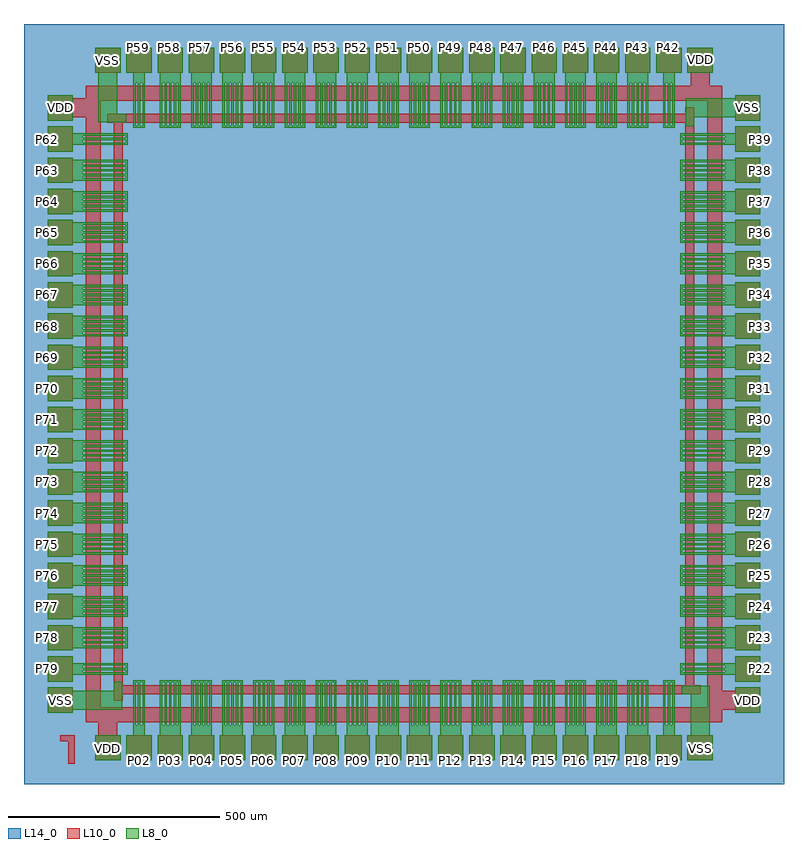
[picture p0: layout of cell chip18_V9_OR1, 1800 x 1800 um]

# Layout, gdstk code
from math import pi, radians
import gdstk
lib = gdstk.Library(unit=1e-6, precision=1e-09)
def R(c, l, rs):  # rectangles x0, y0, x1, y1
    for r in rs: c.add(gdstk.rectangle(r[:2], r[2:], *l))
def A(c, l, x, y, w, h, nx, ny, dx, dy):  # array of equal rectangles
    R(c, l, [(x+i*dx, y+j*dy, x+i*dx+w, y+j*dy+h) for i in range(nx) for j in range(ny)])
def P(c, l, *ps):  # polygons
    for p in ps: c.add(gdstk.Polygon(p, *l))
L8_0 = (8, 0)
L10_0 = (10, 0)
L14_0 = (14, 0)

pad60_v6_or1 = lib.new_cell('PAD60_V6_OR1')
R(pad60_v6_or1, L8_0, [(0,0,60,60)])
R(pad60_v6_or1, L10_0, [(0,0,60,60)])

pad3512_v5_or1 = lib.new_cell('pad3512_V5_OR1')
A(pad3512_v5_or1, L8_0, 16.4, 83.4, 5.6, 101.2, 3, 1, 10.8, 0)
R(pad3512_v5_or1, L8_0, [(16.4,60,43.6,82.9), (16.4,78.4,27.2,83.4), (27.2,78.4,38,83.4), (38,78.4,43.6,83.4), (16.4,184.6,43.6,189.6)])
R(pad3512_v5_or1, L10_0, [(8.9,90,51.1,126.2), (8.9,156.2,51.1,178)])
R(pad3512_v5_or1, L14_0, [(0,0,60,189.6)])
pad3512_v5_or1.add(gdstk.Reference(pad60_v6_or1, (0,0)))
pad3512_v5_or1.add(gdstk.Label('PAD', (30,30.1), layer=13, texttype=0))

pad3512_v4_or1 = lib.new_cell('pad3512_V4_OR1')
A(pad3512_v4_or1, L8_0, 5.6, 83.4, 5.6, 101.2, 5, 1, 10.8, 0)
R(pad3512_v4_or1, L8_0, [(5.6,60,54.4,83.4), (5.6,78.4,16.4,83.4), (16.4,78.4,27.2,83.4), (27.2,78.4,54.4,83.4), (5.6,184.6,54.4,189.6)])
R(pad3512_v4_or1, L10_0, [(-1.9,90,61.9,126.2), (-1.9,156.2,61.9,178)])
R(pad3512_v4_or1, L14_0, [(-8.2,0,68.2,189.6)])
pad3512_v4_or1.add(gdstk.Reference(pad60_v6_or1, (0,0)))
pad3512_v4_or1.add(gdstk.Label('PAD', (30,30.1), layer=13, texttype=0))

chip18_v9_or1 = lib.new_cell('chip18_V9_OR1')
R(chip18_v9_or1, L8_0, [(678.7,-784,723.7,-667.5), (-784,-723.7,-667.5,-678.7), (-687.8,-702.3,-667.5,-657.3), (657.3,-687.8,702.3,-667.5), (667.5,657.3,687.8,702.3), (-723.7,667.5,-678.7,784), (-702.3,667.5,-657.3,687.8), (667.5,678.6,784,723.6)])
R(chip18_v9_or1, L10_0, [(-723.6,-784,-678.6,-754), (-754,-754,-717.8,754), (-754,-754,754,-717.8), (717.8,-754,754,754), (754,-723.6,784,-678.6), (-687.8,-702.3,-666,666), (-687.8,-687.8,702.3,-666), (586.9,-687.8,666,-666), (666,-687.8,687.8,702.3), (666,-687.8,687.8,-660.7), (-702.3,666,687.8,687.8), (-784,678.6,-754,723.6), (-754,717.8,754,754), (678.6,754,723.6,784)])
P(chip18_v9_or1, L10_0, [(-795.3,-851.5),(-795.3,-799),(-813.6,-799),(-813.6,-784),(-780.3,-784),(-780.3,-851.5)])
R(chip18_v9_or1, L14_0, [(-900,-900,900,900)])
chip18_v9_or1.add(gdstk.Reference(pad3512_v5_or1, (-597.3,844), rotation=pi))
chip18_v9_or1.add(gdstk.Reference(pad3512_v5_or1, (657.3,844), rotation=pi))
chip18_v9_or1.add(gdstk.Reference(pad3512_v5_or1, (844,597.3), rotation=pi/2))
chip18_v9_or1.add(gdstk.Reference(pad3512_v5_or1, (844,-657.3), rotation=pi/2))
chip18_v9_or1.add(gdstk.Reference(pad3512_v5_or1, (597.3,-844)))
chip18_v9_or1.add(gdstk.Reference(pad3512_v5_or1, (-657.3,-844)))
chip18_v9_or1.add(gdstk.Reference(pad3512_v5_or1, (-844,-597.3), rotation=3*pi/2))
chip18_v9_or1.add(gdstk.Reference(pad3512_v5_or1, (-844,657.3), rotation=3*pi/2))
chip18_v9_or1.add(gdstk.Reference(pad60_v6_or1, (-731.1,-844)))
chip18_v9_or1.add(gdstk.Reference(pad60_v6_or1, (-731.1,784)))
chip18_v9_or1.add(gdstk.Reference(pad60_v6_or1, (-844,671.1)))
chip18_v9_or1.add(gdstk.Reference(pad60_v6_or1, (671.1,844), x_reflection=True))
chip18_v9_or1.add(gdstk.Reference(pad60_v6_or1, (784,671.1)))
chip18_v9_or1.add(gdstk.Reference(pad60_v6_or1, (784,-731.1)))
chip18_v9_or1.add(gdstk.Reference(pad60_v6_or1, (671.1,-844)))
chip18_v9_or1.add(gdstk.Reference(pad60_v6_or1, (-731.1,-844)))
chip18_v9_or1.add(gdstk.Reference(pad60_v6_or1, (-844,-731.1)))
chip18_v9_or1.add(gdstk.Reference(pad3512_v4_or1, (523.5,-844)))
chip18_v9_or1.add(gdstk.Reference(pad3512_v4_or1, (449.7,-844)))
chip18_v9_or1.add(gdstk.Reference(pad3512_v4_or1, (375.9,-844)))
chip18_v9_or1.add(gdstk.Reference(pad3512_v4_or1, (302.1,-844)))
chip18_v9_or1.add(gdstk.Reference(pad3512_v4_or1, (228.3,-844)))
chip18_v9_or1.add(gdstk.Reference(pad3512_v4_or1, (154.5,-844)))
chip18_v9_or1.add(gdstk.Reference(pad3512_v4_or1, (80.7,-844)))
chip18_v9_or1.add(gdstk.Reference(pad3512_v4_or1, (6.9,-844)))
chip18_v9_or1.add(gdstk.Reference(pad3512_v4_or1, (-66.9,-844)))
chip18_v9_or1.add(gdstk.Reference(pad3512_v4_or1, (-140.7,-844)))
chip18_v9_or1.add(gdstk.Reference(pad3512_v4_or1, (-214.5,-844)))
chip18_v9_or1.add(gdstk.Reference(pad3512_v4_or1, (-288.3,-844)))
chip18_v9_or1.add(gdstk.Reference(pad3512_v4_or1, (-362.1,-844)))
chip18_v9_or1.add(gdstk.Reference(pad3512_v4_or1, (-435.9,-844)))
chip18_v9_or1.add(gdstk.Reference(pad3512_v4_or1, (-509.7,-844)))
chip18_v9_or1.add(gdstk.Reference(pad3512_v4_or1, (-583.5,-844)))
chip18_v9_or1.add(gdstk.Reference(pad3512_v4_or1, (844,-140.7), rotation=pi/2))
chip18_v9_or1.add(gdstk.Reference(pad3512_v4_or1, (844,-214.5), rotation=pi/2))
chip18_v9_or1.add(gdstk.Reference(pad3512_v4_or1, (844,-288.3), rotation=pi/2))
chip18_v9_or1.add(gdstk.Reference(pad3512_v4_or1, (844,-362.1), rotation=pi/2))
chip18_v9_or1.add(gdstk.Reference(pad3512_v4_or1, (844,-435.9), rotation=pi/2))
chip18_v9_or1.add(gdstk.Reference(pad3512_v4_or1, (844,-509.7), rotation=pi/2))
chip18_v9_or1.add(gdstk.Reference(pad3512_v4_or1, (844,-583.5), rotation=pi/2))
chip18_v9_or1.add(gdstk.Reference(pad3512_v4_or1, (844,-66.9), rotation=pi/2))
chip18_v9_or1.add(gdstk.Reference(pad3512_v4_or1, (844,6.9), rotation=pi/2))
chip18_v9_or1.add(gdstk.Reference(pad3512_v4_or1, (844,80.7), rotation=pi/2))
chip18_v9_or1.add(gdstk.Reference(pad3512_v4_or1, (844,154.5), rotation=pi/2))
chip18_v9_or1.add(gdstk.Reference(pad3512_v4_or1, (844,228.3), rotation=pi/2))
chip18_v9_or1.add(gdstk.Reference(pad3512_v4_or1, (844,302.1), rotation=pi/2))
chip18_v9_or1.add(gdstk.Reference(pad3512_v4_or1, (844,375.9), rotation=pi/2))
chip18_v9_or1.add(gdstk.Reference(pad3512_v4_or1, (844,449.7), rotation=pi/2))
chip18_v9_or1.add(gdstk.Reference(pad3512_v4_or1, (844,523.5), rotation=pi/2))
chip18_v9_or1.add(gdstk.Reference(pad3512_v4_or1, (-844,583.5), rotation=3*pi/2))
chip18_v9_or1.add(gdstk.Reference(pad3512_v4_or1, (-844,509.7), rotation=3*pi/2))
chip18_v9_or1.add(gdstk.Reference(pad3512_v4_or1, (-844,435.9), rotation=3*pi/2))
chip18_v9_or1.add(gdstk.Reference(pad3512_v4_or1, (-844,362.1), rotation=3*pi/2))
chip18_v9_or1.add(gdstk.Reference(pad3512_v4_or1, (-844,288.3), rotation=3*pi/2))
chip18_v9_or1.add(gdstk.Reference(pad3512_v4_or1, (-844,214.5), rotation=3*pi/2))
chip18_v9_or1.add(gdstk.Reference(pad3512_v4_or1, (-844,140.7), rotation=3*pi/2))
chip18_v9_or1.add(gdstk.Reference(pad3512_v4_or1, (-844,66.9), rotation=3*pi/2))
chip18_v9_or1.add(gdstk.Reference(pad3512_v4_or1, (-844,-6.9), rotation=3*pi/2))
chip18_v9_or1.add(gdstk.Reference(pad3512_v4_or1, (-844,-80.7), rotation=3*pi/2))
chip18_v9_or1.add(gdstk.Reference(pad3512_v4_or1, (-844,-154.5), rotation=3*pi/2))
chip18_v9_or1.add(gdstk.Reference(pad3512_v4_or1, (-844,-228.3), rotation=3*pi/2))
chip18_v9_or1.add(gdstk.Reference(pad3512_v4_or1, (-844,-302.1), rotation=3*pi/2))
chip18_v9_or1.add(gdstk.Reference(pad3512_v4_or1, (-844,-375.9), rotation=3*pi/2))
chip18_v9_or1.add(gdstk.Reference(pad3512_v4_or1, (-844,-449.7), rotation=3*pi/2))
chip18_v9_or1.add(gdstk.Reference(pad3512_v4_or1, (-844,-523.5), rotation=3*pi/2))
chip18_v9_or1.add(gdstk.Reference(pad3512_v4_or1, (583.5,844), rotation=pi))
chip18_v9_or1.add(gdstk.Reference(pad3512_v4_or1, (509.7,844), rotation=pi))
chip18_v9_or1.add(gdstk.Reference(pad3512_v4_or1, (435.9,844), rotation=pi))
chip18_v9_or1.add(gdstk.Reference(pad3512_v4_or1, (362.1,844), rotation=pi))
chip18_v9_or1.add(gdstk.Reference(pad3512_v4_or1, (288.3,844), rotation=pi))
chip18_v9_or1.add(gdstk.Reference(pad3512_v4_or1, (214.5,844), rotation=pi))
chip18_v9_or1.add(gdstk.Reference(pad3512_v4_or1, (140.7,844), rotation=pi))
chip18_v9_or1.add(gdstk.Reference(pad3512_v4_or1, (66.9,844), rotation=pi))
chip18_v9_or1.add(gdstk.Reference(pad3512_v4_or1, (-6.9,844), rotation=pi))
chip18_v9_or1.add(gdstk.Reference(pad3512_v4_or1, (-80.7,844), rotation=pi))
chip18_v9_or1.add(gdstk.Reference(pad3512_v4_or1, (-154.5,844), rotation=pi))
chip18_v9_or1.add(gdstk.Reference(pad3512_v4_or1, (-228.3,844), rotation=pi))
chip18_v9_or1.add(gdstk.Reference(pad3512_v4_or1, (-302.1,844), rotation=pi))
chip18_v9_or1.add(gdstk.Reference(pad3512_v4_or1, (-375.9,844), rotation=pi))
chip18_v9_or1.add(gdstk.Reference(pad3512_v4_or1, (-449.7,844), rotation=pi))
chip18_v9_or1.add(gdstk.Reference(pad3512_v4_or1, (-523.5,844), rotation=pi))
chip18_v9_or1.add(gdstk.Label('VSS', (813.35,702.4), layer=13, texttype=0))
chip18_v9_or1.add(gdstk.Label('P71', (-844,-36.9), layer=13, texttype=0))
chip18_v9_or1.add(gdstk.Label('P63', (-844,553.5), layer=13, texttype=0))
chip18_v9_or1.add(gdstk.Label('P62', (-844,627.3), layer=13, texttype=0))
chip18_v9_or1.add(gdstk.Label('VDD', (-814,701.1), layer=13, texttype=0))
chip18_v9_or1.add(gdstk.Label('P64', (-844,479.7), layer=13, texttype=0))
chip18_v9_or1.add(gdstk.Label('P65', (-844,405.9), layer=13, texttype=0))
chip18_v9_or1.add(gdstk.Label('P66', (-844,332.1), layer=13, texttype=0))
chip18_v9_or1.add(gdstk.Label('P67', (-844,258.3), layer=13, texttype=0))
chip18_v9_or1.add(gdstk.Label('P68', (-844,184.5), layer=13, texttype=0))
chip18_v9_or1.add(gdstk.Label('P69', (-844,110.7), layer=13, texttype=0))
chip18_v9_or1.add(gdstk.Label('P70', (-844,36.9), layer=13, texttype=0))
chip18_v9_or1.add(gdstk.Label('P72', (-844,-110.7), layer=13, texttype=0))
chip18_v9_or1.add(gdstk.Label('P73', (-844,-184.5), layer=13, texttype=0))
chip18_v9_or1.add(gdstk.Label('P74', (-844,-258.3), layer=13, texttype=0))
chip18_v9_or1.add(gdstk.Label('P75', (-844,-332.1), layer=13, texttype=0))
chip18_v9_or1.add(gdstk.Label('P76', (-844,-405.9), layer=13, texttype=0))
chip18_v9_or1.add(gdstk.Label('P77', (-844,-479.7), layer=13, texttype=0))
chip18_v9_or1.add(gdstk.Label('P78', (-844,-553.5), layer=13, texttype=0))
chip18_v9_or1.add(gdstk.Label('P79', (-844,-627.3), layer=13, texttype=0))
chip18_v9_or1.add(gdstk.Label('VSS', (-814,-701.1), layer=13, texttype=0))
chip18_v9_or1.add(gdstk.Label('VSS', (-701.85,814), layer=13, texttype=0))
chip18_v9_or1.add(gdstk.Label('VDD', (-701.6,-815), layer=13, texttype=0))
chip18_v9_or1.add(gdstk.Label('P59', (-628.65,844), layer=13, texttype=0))
chip18_v9_or1.add(gdstk.Label('P02', (-627.3,-844), layer=13, texttype=0))
chip18_v9_or1.add(gdstk.Label('P58', (-554.85,844), layer=13, texttype=0))
chip18_v9_or1.add(gdstk.Label('P03', (-553.5,-844), layer=13, texttype=0))
chip18_v9_or1.add(gdstk.Label('P57', (-481.05,844), layer=13, texttype=0))
chip18_v9_or1.add(gdstk.Label('P04', (-479.7,-844), layer=13, texttype=0))
chip18_v9_or1.add(gdstk.Label('P56', (-407.25,844), layer=13, texttype=0))
chip18_v9_or1.add(gdstk.Label('P05', (-405.9,-844), layer=13, texttype=0))
chip18_v9_or1.add(gdstk.Label('P55', (-333.45,844), layer=13, texttype=0))
chip18_v9_or1.add(gdstk.Label('P06', (-332.1,-844), layer=13, texttype=0))
chip18_v9_or1.add(gdstk.Label('P54', (-259.65,844), layer=13, texttype=0))
chip18_v9_or1.add(gdstk.Label('P07', (-258.3,-844), layer=13, texttype=0))
chip18_v9_or1.add(gdstk.Label('P53', (-185.85,844), layer=13, texttype=0))
chip18_v9_or1.add(gdstk.Label('P08', (-184.5,-844), layer=13, texttype=0))
chip18_v9_or1.add(gdstk.Label('P52', (-112.05,844), layer=13, texttype=0))
chip18_v9_or1.add(gdstk.Label('P09', (-110.7,-844), layer=13, texttype=0))
chip18_v9_or1.add(gdstk.Label('P51', (-38.25,844), layer=13, texttype=0))
chip18_v9_or1.add(gdstk.Label('P10', (-36.9,-844), layer=13, texttype=0))
chip18_v9_or1.add(gdstk.Label('P50', (35.55,844), layer=13, texttype=0))
chip18_v9_or1.add(gdstk.Label('P11', (36.9,-844), layer=13, texttype=0))
chip18_v9_or1.add(gdstk.Label('P49', (109.35,844), layer=13, texttype=0))
chip18_v9_or1.add(gdstk.Label('P12', (110.7,-844), layer=13, texttype=0))
chip18_v9_or1.add(gdstk.Label('P48', (183.15,844), layer=13, texttype=0))
chip18_v9_or1.add(gdstk.Label('P13', (184.5,-844), layer=13, texttype=0))
chip18_v9_or1.add(gdstk.Label('P47', (256.95,844), layer=13, texttype=0))
chip18_v9_or1.add(gdstk.Label('P14', (258.3,-844), layer=13, texttype=0))
chip18_v9_or1.add(gdstk.Label('P46', (332.1,844), layer=13, texttype=0))
chip18_v9_or1.add(gdstk.Label('P15', (332.1,-844), layer=13, texttype=0))
chip18_v9_or1.add(gdstk.Label('P45', (405.9,844), layer=13, texttype=0))
chip18_v9_or1.add(gdstk.Label('P16', (405.9,-844), layer=13, texttype=0))
chip18_v9_or1.add(gdstk.Label('P44', (479.7,844), layer=13, texttype=0))
chip18_v9_or1.add(gdstk.Label('P17', (479.7,-844), layer=13, texttype=0))
chip18_v9_or1.add(gdstk.Label('P43', (553.5,844), layer=13, texttype=0))
chip18_v9_or1.add(gdstk.Label('P18', (553.5,-844), layer=13, texttype=0))
chip18_v9_or1.add(gdstk.Label('P42', (627.3,844), layer=13, texttype=0))
chip18_v9_or1.add(gdstk.Label('P19', (627.3,-844), layer=13, texttype=0))
chip18_v9_or1.add(gdstk.Label('VDD', (814,-701.1), layer=13, texttype=0))
chip18_v9_or1.add(gdstk.Label('VDD', (701.15,815.4), layer=13, texttype=0))
chip18_v9_or1.add(gdstk.Label('P31', (844,36.9), layer=13, texttype=0))
chip18_v9_or1.add(gdstk.Label('P30', (844,-36.9), layer=13, texttype=0))
chip18_v9_or1.add(gdstk.Label('VSS', (701.1,-815), layer=13, texttype=0))
chip18_v9_or1.add(gdstk.Label('P22', (844,-627.3), layer=13, texttype=0))
chip18_v9_or1.add(gdstk.Label('P23', (844,-553.5), layer=13, texttype=0))
chip18_v9_or1.add(gdstk.Label('P24', (844,-479.7), layer=13, texttype=0))
chip18_v9_or1.add(gdstk.Label('P25', (844,-405.9), layer=13, texttype=0))
chip18_v9_or1.add(gdstk.Label('P26', (844,-332.1), layer=13, texttype=0))
chip18_v9_or1.add(gdstk.Label('P27', (844,-258.3), layer=13, texttype=0))
chip18_v9_or1.add(gdstk.Label('P28', (844,-184.5), layer=13, texttype=0))
chip18_v9_or1.add(gdstk.Label('P29', (844,-110.7), layer=13, texttype=0))
chip18_v9_or1.add(gdstk.Label('P32', (844,110.7), layer=13, texttype=0))
chip18_v9_or1.add(gdstk.Label('P33', (844,184.5), layer=13, texttype=0))
chip18_v9_or1.add(gdstk.Label('P34', (844,258.3), layer=13, texttype=0))
chip18_v9_or1.add(gdstk.Label('P35', (844,332.1), layer=13, texttype=0))
chip18_v9_or1.add(gdstk.Label('P36', (844,405.9), layer=13, texttype=0))
chip18_v9_or1.add(gdstk.Label('P37', (844,479.7), layer=13, texttype=0))
chip18_v9_or1.add(gdstk.Label('P38', (844,553.5), layer=13, texttype=0))
chip18_v9_or1.add(gdstk.Label('P39', (844,627.3), layer=13, texttype=0))

lib.write_gds('chip18_V9_OR1.gds')
